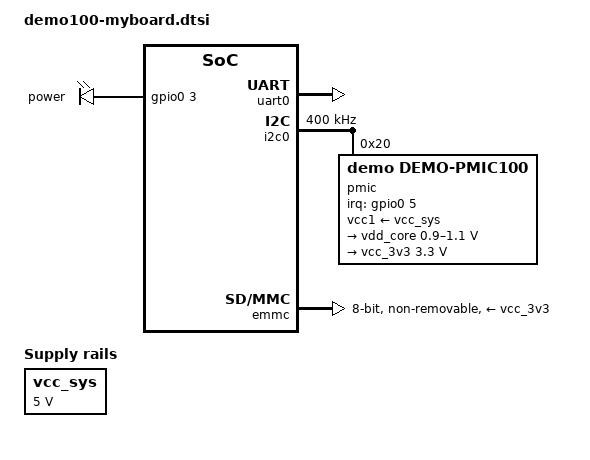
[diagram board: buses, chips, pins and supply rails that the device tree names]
// SPDX-License-Identifier: MIT
/*
 * ボード共通部分（DM1000 / DM2000 で共有）
 */
#include "demo100.dtsi"

/ {
	aliases {
		serial0 = &uart0;
		mmc0 = &emmc;
	};

	chosen {
		stdout-path = &uart0;
	};

	vcc_sys: regulator-vcc-sys {
		compatible = "regulator-fixed";
		regulator-name = "vcc_sys";
		regulator-min-microvolt = <5000000>;
		regulator-max-microvolt = <5000000>;
		regulator-always-on;
	};

	leds: leds {
		compatible = "gpio-leds";

		led_power: led-power {
			label = "power";
			gpios = <&gpio0 3 GPIO_ACTIVE_HIGH>;
			default-state = "on";
		};
	};
};

&uart0 {
	status = "okay";
};

&i2c0 {
	status = "okay";
	clock-frequency = <400000>;

	pmic: pmic@20 {
		compatible = "demo,demo-pmic100";
		reg = <0x20>;
		interrupt-parent = <&gpio0>;
		interrupts = <5 GPIO_ACTIVE_LOW>;
		vcc1-supply = <&vcc_sys>;

		regulators {
			vdd_core: dcdc1 {
				regulator-name = "vdd_core";
				regulator-min-microvolt = <900000>;
				regulator-max-microvolt = <1100000>;
			};

			vcc_3v3: ldo1 {
				regulator-name = "vcc_3v3";
				regulator-min-microvolt = <3300000>;
				regulator-max-microvolt = <3300000>;
			};
		};
	};
};

&emmc {
	bus-width = <8>;
	non-removable;
	vmmc-supply = <&vcc_3v3>;
	status = "okay";
};

/delete-node/ &debug;
